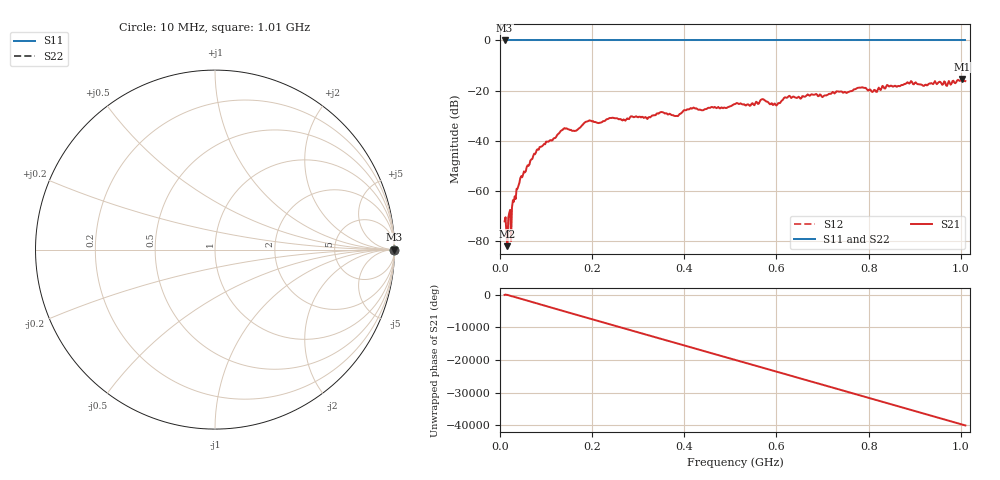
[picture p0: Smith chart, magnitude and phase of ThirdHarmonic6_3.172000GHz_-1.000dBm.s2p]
! 8/17/2025 9:33:21 AM
! C:\ANRITSUVNA\TEMP\TEMP.S2P
! CHANNEL.1
! TR.MEASUREMENT
! RAW.DATA
! RF.CORRECTION.OFF
! AVERAGING.OFF
! IF.BANDWIDTH: 5KHZ
! SWEEPTYPE:  FREQ.SWEEP(Linear)
! Reference Plane Port Info
! PORT:  PORT1  PORT2
! DISTANCE:  0  m  0  m
! TIME:  0  s  0  s
! PHASE.OFFSET:  0  deg.  0  deg.
! LOSS:  0  dB  0  dB
! REF.LOSS:  0  dB  0  dB
! REF.FREQ:  0  Hz  0  Hz
! Power Info
! POWER:  -20  dBm  -20  dBm
! EFF.POWER:  -20  dBm  -20  dBm
! SOURCE.ATTEN:  0  dB  0  dB
! TEST.ATTEN:  0  dB  0  dB
# GHZ S RI R 50.0
! FREQ.GHZ  S11RE  S11IM  S21RE  S21IM  S12RE  S12IM  S22RE  S22IM
!; PortSelection: Port_12
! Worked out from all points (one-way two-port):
!   501 points, 10 MHz to 1.01 GHz, reference 50 ohm
!   highest |S21| = -15.38 dB at 1.002 GHz (marker M1); lowest = -82.1 dB at 16 MHz (marker M2)
!   lowest |S11| = 0.0 dB at 10 MHz (marker M3)
!   |S11| at or under -10 dB: nowhere
!   |S22| runs from 0.0 to 0.0 dB; largest |S21 - S12| = 1.2
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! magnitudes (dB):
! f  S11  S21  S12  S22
! 10 MHz  0.0  -72.2  0.0  0.0
! 16 MHz  0.0  -82.1  0.0  0.0
! 20 MHz  0.0  -68.9  0.0  0.0
! 28 MHz  0.0  -63.7  0.0  0.0
! 30 MHz  0.0  -64.3  0.0  0.0
! 42 MHz  0.0  -56.9  0.0  0.0
! 78 MHz  0.0  -44.7  0.0  0.0
! 136 MHz  0.0  -35.6  0.0  0.0
! 162 MHz  0.0  -36.1  0.0  0.0
! 178 MHz  0.0  -33.9  0.0  0.0
! 344 MHz  0.0  -29.2  0.0  0.0
! 382 MHz  0.0  -30.1  0.0  0.0
! 416 MHz  0.0  -27.2  0.0  0.0
! 510 MHz  0.0  -25.4  0.0  0.0
! 570 MHz  0.0  -23.4  0.0  0.0
! 596 MHz  0.0  -25.1  0.0  0.0
! 624 MHz  0.0  -22.7  0.0  0.0
! 678 MHz  0.0  -21.6  0.0  0.0
! 814 MHz  0.0  -19.8  0.0  0.0
! 844 MHz  0.0  -18.3  0.0  0.0
! 1.002 GHz  0.0  -15.4  0.0  0.0
! 1.01 GHz  0.0  -16.2  0.0  0.0
